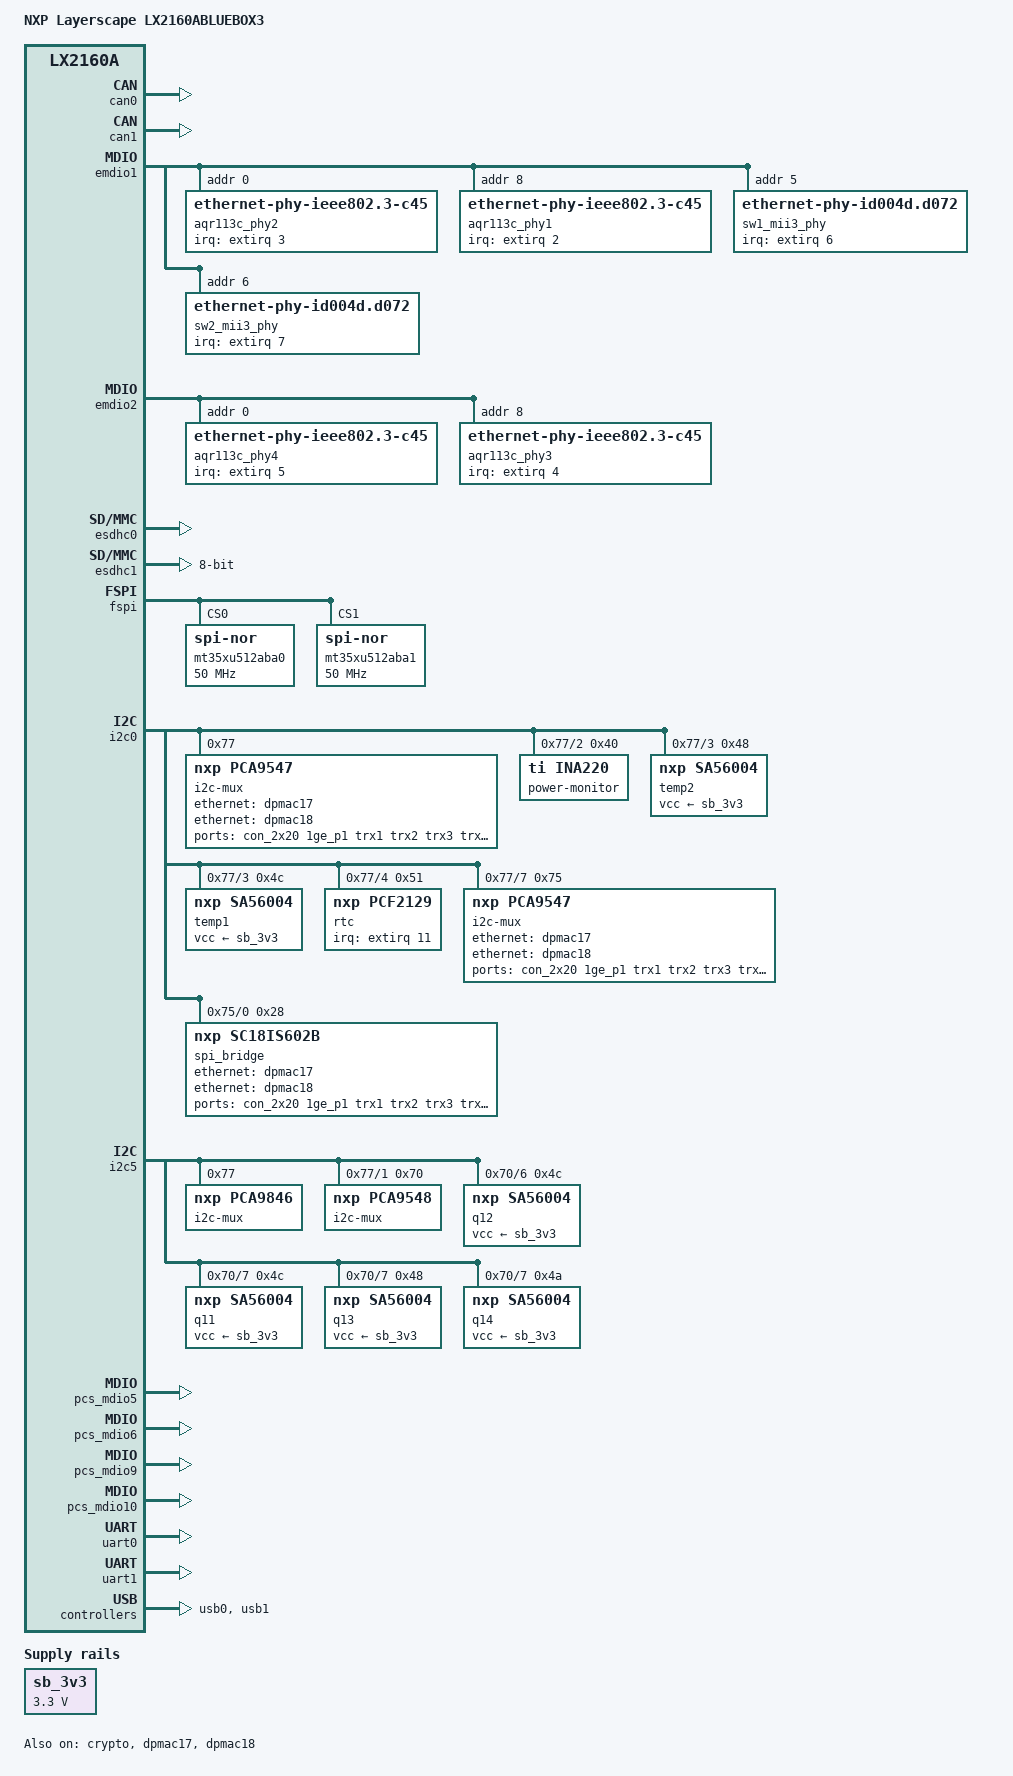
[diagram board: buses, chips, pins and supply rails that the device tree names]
// SPDX-License-Identifier: (GPL-2.0 OR MIT)
//
// Device Tree file for LX2160A BLUEBOX3
//
// Copyright 2020-2021 NXP

/dts-v1/;

#include "fsl-lx2160a.dtsi"

/ {
	model = "NXP Layerscape LX2160ABLUEBOX3";
	compatible = "fsl,lx2160a-bluebox3", "fsl,lx2160a";

	aliases {
		crypto = &crypto;
		mmc0 = &esdhc0;
		mmc1 = &esdhc1;
		serial0 = &uart0;
	};

	chosen {
		stdout-path = "serial0:115200n8";
	};

	sb_3v3: regulator-sb3v3 {
		compatible = "regulator-fixed";
		regulator-name = "MC34717-3.3VSB";
		regulator-min-microvolt = <3300000>;
		regulator-max-microvolt = <3300000>;
		regulator-boot-on;
		regulator-always-on;
	};
};

&can0 {
	status = "okay";

	can-transceiver {
		max-bitrate = <5000000>;
	};
};

&can1 {
	status = "okay";

	can-transceiver {
		max-bitrate = <5000000>;
	};
};

&crypto {
	status = "okay";
};

&dpmac5 {
	phy-handle = <&aqr113c_phy1>;
	phy-mode = "usxgmii";
	managed = "in-band-status";
};

&dpmac6 {
	phy-handle = <&aqr113c_phy2>;
	phy-mode = "usxgmii";
	managed = "in-band-status";
};

&dpmac9 {
	phy-handle = <&aqr113c_phy3>;
	phy-mode = "usxgmii";
	managed = "in-band-status";
};

&dpmac10 {
	phy-handle = <&aqr113c_phy4>;
	phy-mode = "usxgmii";
	managed = "in-band-status";
};

&dpmac17 {
	phy-mode = "rgmii";
	status = "okay";

	fixed-link {
		speed = <1000>;
		full-duplex;
	};
};

&dpmac18 {
	phy-mode = "rgmii";
	status = "okay";

	fixed-link {
		speed = <1000>;
		full-duplex;
	};
};

&emdio1 {
	status = "okay";

	aqr113c_phy2: ethernet-phy@0 {
		compatible = "ethernet-phy-ieee802.3-c45";
		reg = <0x0>;
		/* IRQ_10G_PHY2 */
		interrupts-extended = <&extirq 3 IRQ_TYPE_LEVEL_LOW>;
	};

	aqr113c_phy1: ethernet-phy@8 {
		compatible = "ethernet-phy-ieee802.3-c45";
		reg = <0x8>;
		/* IRQ_10G_PHY1 */
		interrupts-extended = <&extirq 2 IRQ_TYPE_LEVEL_LOW>;
	};

	sw1_mii3_phy: ethernet-phy@5 {
		/* AR8035 */
		compatible = "ethernet-phy-id004d.d072";
		reg = <0x5>;
		interrupts-extended = <&extirq 6 IRQ_TYPE_LEVEL_LOW>;
	};

	sw2_mii3_phy: ethernet-phy@6 {
		/* AR8035 */
		compatible = "ethernet-phy-id004d.d072";
		reg = <0x6>;
		interrupts-extended = <&extirq 7 IRQ_TYPE_LEVEL_LOW>;
	};
};

&emdio2 {
	status = "okay";

	aqr113c_phy4: ethernet-phy@0 {
		compatible = "ethernet-phy-ieee802.3-c45";
		reg = <0x0>;
		/* IRQ_10G_PHY4 */
		interrupts-extended = <&extirq 5 IRQ_TYPE_LEVEL_LOW>;
	};

	aqr113c_phy3: ethernet-phy@8 {
		compatible = "ethernet-phy-ieee802.3-c45";
		reg = <0x8>;
		/* IRQ_10G_PHY3 */
		interrupts-extended = <&extirq 4 IRQ_TYPE_LEVEL_LOW>;
	};
};

&esdhc0 {
	sd-uhs-sdr104;
	sd-uhs-sdr50;
	sd-uhs-sdr25;
	sd-uhs-sdr12;
	status = "okay";
};

&esdhc1 {
	mmc-hs200-1_8v;
	mmc-hs400-1_8v;
	bus-width = <8>;
	status = "okay";
};

&fspi {
	status = "okay";

	mt35xu512aba0: flash@0 {
		compatible = "jedec,spi-nor";
		#address-cells = <1>;
		#size-cells = <1>;
		reg = <0>;
		m25p,fast-read;
		spi-max-frequency = <50000000>;
		spi-rx-bus-width = <8>;
		spi-tx-bus-width = <8>;
	};

	mt35xu512aba1: flash@1 {
		compatible = "jedec,spi-nor";
		#address-cells = <1>;
		#size-cells = <1>;
		reg = <1>;
		m25p,fast-read;
		spi-max-frequency = <50000000>;
		spi-rx-bus-width = <8>;
		spi-tx-bus-width = <8>;
	};
};

&i2c0 {
	status = "okay";

	i2c-mux@77 {
		compatible = "nxp,pca9547";
		reg = <0x77>;
		#address-cells = <1>;
		#size-cells = <0>;

		i2c@2 {
			#address-cells = <1>;
			#size-cells = <0>;
			reg = <0x2>;

			power-monitor@40 {
				compatible = "ti,ina220";
				reg = <0x40>;
				shunt-resistor = <500>;
			};
		};

		i2c@3 {
			#address-cells = <1>;
			#size-cells = <0>;
			reg = <0x3>;

			temp2: temperature-sensor@48 {
				compatible = "nxp,sa56004";
				reg = <0x48>;
				vcc-supply = <&sb_3v3>;
				#thermal-sensor-cells = <1>;
			};

			temp1: temperature-sensor@4c {
				compatible = "nxp,sa56004";
				reg = <0x4c>;
				vcc-supply = <&sb_3v3>;
				#thermal-sensor-cells = <1>;
			};
		};

		i2c@4 {
			#address-cells = <1>;
			#size-cells = <0>;
			reg = <0x4>;

			rtc@51 {
				compatible = "nxp,pcf2129";
				reg = <0x51>;
				interrupts-extended = <&extirq 11 IRQ_TYPE_LEVEL_LOW>;
			};
		};

		i2c@7 {
			#address-cells = <1>;
			#size-cells = <0>;
			reg = <0x7>;

			i2c-mux@75 {
				compatible = "nxp,pca9547";
				reg = <0x75>;
				#address-cells = <1>;
				#size-cells = <0>;

				i2c@0 {
					#address-cells = <1>;
					#size-cells = <0>;
					reg = <0x0>;

					spi_bridge: spi@28 {
						compatible = "nxp,sc18is602b";
						reg = <0x28>;
						#address-cells = <1>;
						#size-cells = <0>;
					};
				};
			};
		};
	};
};

&i2c5 {
	status = "okay";

	i2c-mux@77 {
		compatible = "nxp,pca9846";
		reg = <0x77>;
		#address-cells = <1>;
		#size-cells = <0>;

		i2c@1 {
			#address-cells = <1>;
			#size-cells = <0>;
			reg = <0x1>;

			/* The I2C multiplexer and temperature sensors are on
			 * the T6 riser card.
			 */
			i2c-mux@70 {
				compatible = "nxp,pca9548";
				reg = <0x70>;
				#address-cells = <1>;
				#size-cells = <0>;

				i2c@6 {
					#address-cells = <1>;
					#size-cells = <0>;
					reg = <0x6>;

					q12: temperature-sensor@4c {
						compatible = "nxp,sa56004";
						reg = <0x4c>;
						vcc-supply = <&sb_3v3>;
						#thermal-sensor-cells = <1>;
					};
				};

				i2c@7 {
					#address-cells = <1>;
					#size-cells = <0>;
					reg = <0x7>;

					q11: temperature-sensor@4c {
						compatible = "nxp,sa56004";
						reg = <0x4c>;
						vcc-supply = <&sb_3v3>;
						#thermal-sensor-cells = <1>;
					};

					q13: temperature-sensor@48 {
						compatible = "nxp,sa56004";
						reg = <0x48>;
						vcc-supply = <&sb_3v3>;
						#thermal-sensor-cells = <1>;
					};

					q14: temperature-sensor@4a {
						compatible = "nxp,sa56004";
						reg = <0x4a>;
						vcc-supply = <&sb_3v3>;
						#thermal-sensor-cells = <1>;
					};
				};
			};
		};
	};
};

&pcs_mdio5 {
	status = "okay";
};

&pcs_mdio6 {
	status = "okay";
};

&pcs_mdio9 {
	status = "okay";
};

&pcs_mdio10 {
	status = "okay";
};

&spi_bridge {
	sw1: ethernet-switch@0 {
		compatible = "nxp,sja1110a";
		reg = <0>;
		spi-max-frequency = <4000000>;
		spi-cpol;
		dsa,member = <0 0>;

		ethernet-ports {
			#address-cells = <1>;
			#size-cells = <0>;

			/* Microcontroller port */
			port@0 {
				reg = <0>;
				status = "disabled";
			};

			/* SW1_P1 */
			port@1 {
				reg = <1>;
				label = "con_2x20";
				phy-mode = "sgmii";

				fixed-link {
					speed = <1000>;
					full-duplex;
				};
			};

			port@2 {
				reg = <2>;
				ethernet = <&dpmac17>;
				phy-mode = "rgmii-id";
				rx-internal-delay-ps = <2000>;
				tx-internal-delay-ps = <2000>;

				fixed-link {
					speed = <1000>;
					full-duplex;
				};
			};

			port@3 {
				reg = <3>;
				label = "1ge_p1";
				phy-mode = "rgmii-id";
				phy-handle = <&sw1_mii3_phy>;
			};

			sw1p4: port@4 {
				reg = <4>;
				link = <&sw2p1>;
				phy-mode = "sgmii";

				fixed-link {
					speed = <1000>;
					full-duplex;
				};
			};

			port@5 {
				reg = <5>;
				label = "trx1";
				phy-mode = "internal";
				phy-handle = <&sw1_port5_base_t1_phy>;
			};

			port@6 {
				reg = <6>;
				label = "trx2";
				phy-mode = "internal";
				phy-handle = <&sw1_port6_base_t1_phy>;
			};

			port@7 {
				reg = <7>;
				label = "trx3";
				phy-mode = "internal";
				phy-handle = <&sw1_port7_base_t1_phy>;
			};

			port@8 {
				reg = <8>;
				label = "trx4";
				phy-mode = "internal";
				phy-handle = <&sw1_port8_base_t1_phy>;
			};

			port@9 {
				reg = <9>;
				label = "trx5";
				phy-mode = "internal";
				phy-handle = <&sw1_port9_base_t1_phy>;
			};

			port@a {
				reg = <10>;
				label = "trx6";
				phy-mode = "internal";
				phy-handle = <&sw1_port10_base_t1_phy>;
			};
		};

		mdios {
			#address-cells = <1>;
			#size-cells = <0>;

			mdio@0 {
				compatible = "nxp,sja1110-base-t1-mdio";
				#address-cells = <1>;
				#size-cells = <0>;
				reg = <0>;

				sw1_port5_base_t1_phy: ethernet-phy@1 {
					compatible = "ethernet-phy-ieee802.3-c45";
					reg = <0x1>;
				};

				sw1_port6_base_t1_phy: ethernet-phy@2 {
					compatible = "ethernet-phy-ieee802.3-c45";
					reg = <0x2>;
				};

				sw1_port7_base_t1_phy: ethernet-phy@3 {
					compatible = "ethernet-phy-ieee802.3-c45";
					reg = <0x3>;
				};

				sw1_port8_base_t1_phy: ethernet-phy@4 {
					compatible = "ethernet-phy-ieee802.3-c45";
					reg = <0x4>;
				};

				sw1_port9_base_t1_phy: ethernet-phy@5 {
					compatible = "ethernet-phy-ieee802.3-c45";
					reg = <0x5>;
				};

				sw1_port10_base_t1_phy: ethernet-phy@6 {
					compatible = "ethernet-phy-ieee802.3-c45";
					reg = <0x6>;
				};
			};
		};
	};

	sw2: ethernet-switch@2 {
		compatible = "nxp,sja1110a";
		reg = <2>;
		spi-max-frequency = <4000000>;
		spi-cpol;
		dsa,member = <0 1>;

		ethernet-ports {
			#address-cells = <1>;
			#size-cells = <0>;

			/* Microcontroller port */
			port@0 {
				reg = <0>;
				status = "disabled";
			};

			sw2p1: port@1 {
				reg = <1>;
				link = <&sw1p4>;
				phy-mode = "sgmii";

				fixed-link {
					speed = <1000>;
					full-duplex;
				};
			};

			port@2 {
				reg = <2>;
				ethernet = <&dpmac18>;
				phy-mode = "rgmii-id";
				rx-internal-delay-ps = <2000>;
				tx-internal-delay-ps = <2000>;

				fixed-link {
					speed = <1000>;
					full-duplex;
				};
			};

			port@3 {
				reg = <3>;
				label = "1ge_p2";
				phy-mode = "rgmii-id";
				phy-handle = <&sw2_mii3_phy>;
			};

			port@4 {
				reg = <4>;
				label = "to_sw3";
				phy-mode = "2500base-x";

				fixed-link {
					speed = <2500>;
					full-duplex;
				};
			};

			port@5 {
				reg = <5>;
				label = "trx7";
				phy-mode = "internal";
				phy-handle = <&sw2_port5_base_t1_phy>;
			};

			port@6 {
				reg = <6>;
				label = "trx8";
				phy-mode = "internal";
				phy-handle = <&sw2_port6_base_t1_phy>;
			};

			port@7 {
				reg = <7>;
				label = "trx9";
				phy-mode = "internal";
				phy-handle = <&sw2_port7_base_t1_phy>;
			};

			port@8 {
				reg = <8>;
				label = "trx10";
				phy-mode = "internal";
				phy-handle = <&sw2_port8_base_t1_phy>;
			};

			port@9 {
				reg = <9>;
				label = "trx11";
				phy-mode = "internal";
				phy-handle = <&sw2_port9_base_t1_phy>;
			};

			port@a {
				reg = <10>;
				label = "trx12";
				phy-mode = "internal";
				phy-handle = <&sw2_port10_base_t1_phy>;
			};
		};

		mdios {
			#address-cells = <1>;
			#size-cells = <0>;

			mdio@0 {
				compatible = "nxp,sja1110-base-t1-mdio";
				#address-cells = <1>;
				#size-cells = <0>;
				reg = <0>;

				sw2_port5_base_t1_phy: ethernet-phy@1 {
					compatible = "ethernet-phy-ieee802.3-c45";
					reg = <0x1>;
				};

				sw2_port6_base_t1_phy: ethernet-phy@2 {
					compatible = "ethernet-phy-ieee802.3-c45";
					reg = <0x2>;
				};

				sw2_port7_base_t1_phy: ethernet-phy@3 {
					compatible = "ethernet-phy-ieee802.3-c45";
					reg = <0x3>;
				};

				sw2_port8_base_t1_phy: ethernet-phy@4 {
					compatible = "ethernet-phy-ieee802.3-c45";
					reg = <0x4>;
				};

				sw2_port9_base_t1_phy: ethernet-phy@5 {
					compatible = "ethernet-phy-ieee802.3-c45";
					reg = <0x5>;
				};

				sw2_port10_base_t1_phy: ethernet-phy@6 {
					compatible = "ethernet-phy-ieee802.3-c45";
					reg = <0x6>;
				};
			};
		};
	};
};

&uart0 {
	status = "okay";
};

&uart1 {
	status = "okay";
};

&usb0 {
	status = "okay";
};

&usb1 {
	status = "okay";
};
